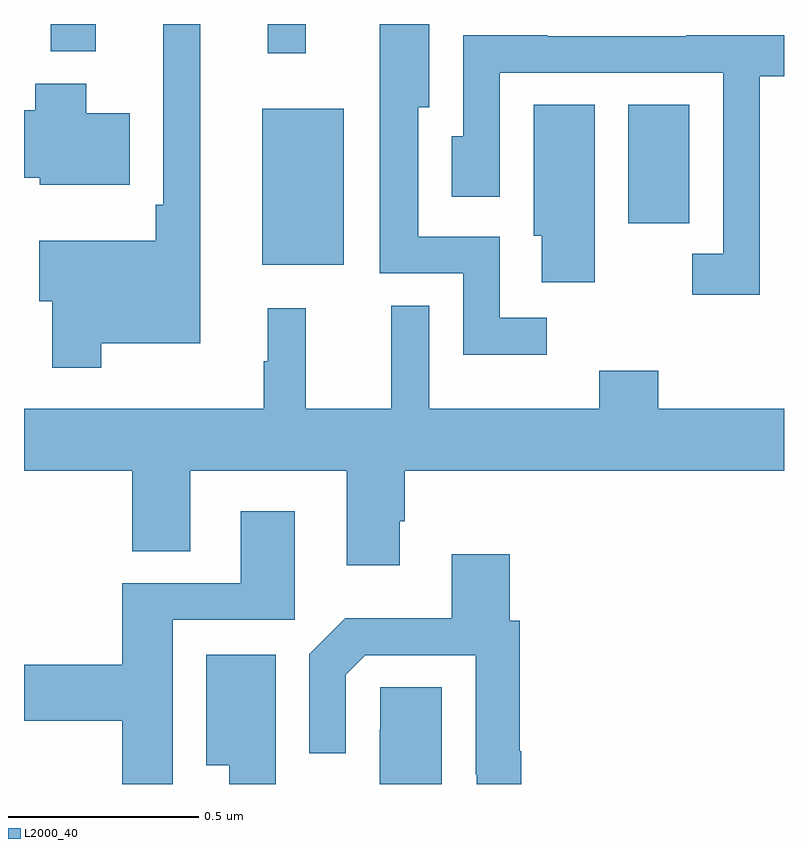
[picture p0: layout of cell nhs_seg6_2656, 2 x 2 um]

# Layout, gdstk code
import gdstk
lib = gdstk.Library(unit=1e-6, precision=1e-09)
def R(c, l, rs):  # rectangles x0, y0, x1, y1
    for r in rs: c.add(gdstk.rectangle(r[:2], r[2:], *l))
def P(c, l, *ps):  # polygons
    for p in ps: c.add(gdstk.Polygon(p, *l))
L2000_40 = (2000, 40)

nhs_seg6_2656 = lib.new_cell('nhs_seg6_2656')
R(nhs_seg6_2656, L2000_40, [(146.627,959.867,146.842,960.277), (147.59,959.976,147.751,960.287), (146.642,960.423,146.741,960.5), (146.071,960.428,146.189,960.5)])
P(nhs_seg6_2656, L2000_40, [(146.203,959.66),(146.464,959.66),(146.464,960.5),(146.367,960.5),(146.367,960.025),(146.347,960.025),(146.347,959.929),(146.04,959.929),(146.04,959.771),(146.074,959.771),(146.074,959.595),(146.203,959.595)],
  [(147.376,959.727),(147.252,959.727),(147.252,959.94),(147.037,959.94),(147.037,960.281),(147.067,960.281),(147.067,960.5),(146.936,960.5),(146.936,959.844),(147.156,959.844),(147.156,959.63),(147.376,959.63)],
  [(147.936,960.362),(148,960.362),(148,960.47),(147.743,960.47),(147.743,960.468),(147.377,960.468),(147.377,960.47),(147.156,960.47),(147.156,960.204),(147.125,960.204),(147.125,960.045),(147.252,960.045),(147.252,960.372),(147.84,960.372),(147.84,959.895),(147.759,959.895),(147.759,959.787),(147.936,959.787)],
  [(146.278,960.265),(146.164,960.265),(146.164,960.343),(146.03,960.343),(146.03,960.273),(146,960.273),(146,960.095),(146.042,960.095),(146.042,960.077),(146.278,960.077)],
  [(147.502,960.287),(147.341,960.287),(147.341,959.943),(147.362,959.943),(147.362,959.82),(147.502,959.82)],
  [(146.989,959.191),(147.002,959.191),(147.002,959.324),(148,959.324),(148,959.488),(147.669,959.488),(147.669,959.587),(147.514,959.587),(147.514,959.488),(147.067,959.488),(147.067,959.759),(146.966,959.759),(146.966,959.488),(146.742,959.488),(146.742,959.752),(146.642,959.752),(146.642,959.612),(146.631,959.612),(146.631,959.488),(146,959.488),(146,959.324),(146.285,959.324),(146.285,959.113),(146.437,959.113),(146.437,959.324),(146.849,959.324),(146.849,959.076),(146.989,959.076)],
  [(146.392,958.932),(146.713,958.932),(146.713,959.218),(146.57,959.218),(146.57,959.028),(146.258,959.028),(146.258,958.814),(146,958.814),(146,958.667),(146.258,958.667),(146.258,958.5),(146.392,958.5)],
  [(147.308,958.586),(147.305,958.586),(147.305,958.929),(147.278,958.929),(147.278,959.104),(147.125,959.104),(147.125,958.936),(146.845,958.936),(146.751,958.842),(146.751,958.581),(146.847,958.581),(146.847,958.788),(146.898,958.839),(147.189,958.839),(147.189,958.525),(147.192,958.525),(147.192,958.5),(147.308,958.5)],
  [(146.662,958.84),(146.48,958.84),(146.48,958.55),(146.54,958.55),(146.54,958.5),(146.662,958.5)],
  [(147.099,958.754),(146.937,958.754),(146.937,958.643),(146.936,958.643),(146.936,958.5),(147.099,958.5)])

lib.write_gds('nhs_seg6_2656.gds')
